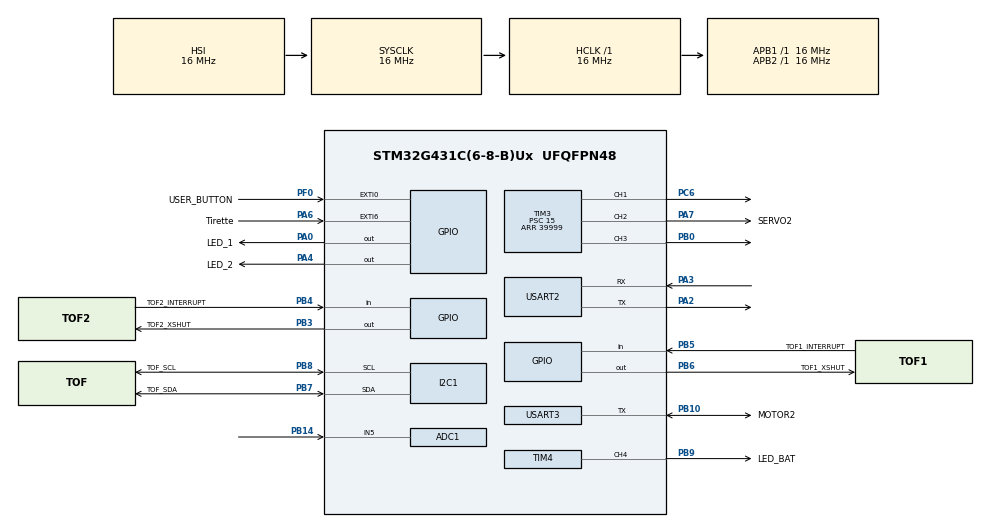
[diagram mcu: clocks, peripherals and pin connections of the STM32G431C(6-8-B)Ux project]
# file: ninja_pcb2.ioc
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ADC1.Channel-0\#ChannelRegularConversion=ADC_CHANNEL_5
ADC1.NbrOfConversionFlag=1
ADC1.OffsetNumber-0\#ChannelRegularConversion=ADC_OFFSET_NONE
ADC1.Rank-0\#ChannelRegularConversion=1
ADC1.SamplingTime-0\#ChannelRegularConversion=ADC_SAMPLETIME_2CYCLES_5
ADC1.master=1
Dma.Request0=USART3_RX
Dma.Request1=TIM4_CH4
Dma.TIM4_CH4.1.Direction=DMA_PERIPH_TO_MEMORY
Dma.TIM4_CH4.1.EventEnable=DISABLE
Dma.TIM4_CH4.1.Instance=DMA1_Channel1
Dma.TIM4_CH4.1.MemDataAlignment=DMA_MDATAALIGN_HALFWORD
Dma.TIM4_CH4.1.MemInc=DMA_MINC_ENABLE
Dma.TIM4_CH4.1.Mode=DMA_NORMAL
Dma.TIM4_CH4.1.PeriphDataAlignment=DMA_PDATAALIGN_HALFWORD
Dma.TIM4_CH4.1.PeriphInc=DMA_PINC_DISABLE
Dma.TIM4_CH4.1.Polarity=HAL_DMAMUX_REQ_GEN_RISING
Dma.TIM4_CH4.1.Priority=DMA_PRIORITY_LOW
Dma.TIM4_CH4.1.RequestNumber=1
Dma.TIM4_CH4.1.SignalID=NONE
Dma.TIM4_CH4.1.SyncEnable=DISABLE
Dma.TIM4_CH4.1.SyncPolarity=HAL_DMAMUX_SYNC_NO_EVENT
Dma.TIM4_CH4.1.SyncRequestNumber=1
Dma.TIM4_CH4.1.SyncSignalID=NONE
Dma.USART3_RX.0.Direction=DMA_PERIPH_TO_MEMORY
Dma.USART3_RX.0.EventEnable=DISABLE
Dma.USART3_RX.0.Instance=DMA1_Channel2
Dma.USART3_RX.0.MemDataAlignment=DMA_MDATAALIGN_BYTE
Dma.USART3_RX.0.MemInc=DMA_MINC_ENABLE
Dma.USART3_RX.0.Mode=DMA_NORMAL
Dma.USART3_RX.0.PeriphDataAlignment=DMA_PDATAALIGN_BYTE
Dma.USART3_RX.0.PeriphInc=DMA_PINC_DISABLE
Dma.USART3_RX.0.Polarity=HAL_DMAMUX_REQ_GEN_RISING
Dma.USART3_RX.0.Priority=DMA_PRIORITY_LOW
Dma.USART3_RX.0.RequestNumber=1
Dma.USART3_RX.0.SignalID=NONE
Dma.USART3_RX.0.SyncEnable=DISABLE
Dma.USART3_RX.0.SyncPolarity=HAL_DMAMUX_SYNC_NO_EVENT
Dma.USART3_RX.0.SyncRequestNumber=1
Dma.USART3_RX.0.SyncSignalID=NONE
FREERTOS.Tasks01=Sytem_Task,24,128,System,Default,NULL,Dynamic,NULL,NULL;Action_Control,32,128,Action,Default,NULL,Dynamic,NULL,NULL
FREERTOS.configUSE_NEWLIB_REENTRANT=0
I2C1.Timing=0x00503D58
Mcu.Family=STM32G4
Mcu.Name=STM32G431C(6-8-B)Ux
Mcu.Package=UFQFPN48
NVIC.ADC1_2_IRQn=true\:5\:0\:false\:false\:true\:true\:true\:true\:true
NVIC.DMA1_Channel1_IRQn=true\:5\:0\:false\:false\:true\:true\:false\:true\:true
NVIC.DMA1_Channel2_IRQn=true\:5\:0\:false\:false\:true\:true\:false\:true\:true
NVIC.EXTI0_IRQn=true\:5\:0\:false\:false\:true\:true\:true\:true\:true
NVIC.EXTI9_5_IRQn=true\:5\:0\:false\:false\:true\:true\:true\:true\:true
NVIC.I2C1_ER_IRQn=true\:5\:0\:false\:false\:true\:true\:true\:true\:true
NVIC.I2C1_EV_IRQn=true\:5\:0\:false\:false\:true\:true\:true\:true\:true
NVIC.PriorityGroup=NVIC_PRIORITYGROUP_4
NVIC.TIM1_TRG_COM_TIM17_IRQn=true\:15\:0\:false\:false\:true\:false\:false\:true\:true
NVIC.TIM2_IRQn=true\:5\:0\:false\:false\:true\:true\:true\:true\:true
NVIC.TIM3_IRQn=true\:5\:0\:false\:false\:true\:true\:true\:true\:true
NVIC.TIM4_IRQn=true\:5\:0\:false\:false\:true\:true\:true\:true\:true
NVIC.TimeBase=TIM1_TRG_COM_TIM17_IRQn
NVIC.TimeBaseIP=TIM17
NVIC.USART2_IRQn=true\:5\:0\:false\:false\:true\:true\:true\:true\:true
NVIC.USART3_IRQn=true\:5\:0\:false\:false\:true\:true\:true\:true\:true
PA0.GPIO_Label=LED_1
PA0.Signal=GPIO_Output
PA13.Signal=SYS_JTMS-SWDIO
PA14.Signal=SYS_JTCK-SWCLK
PA2.Mode=Asynchronous
PA2.Signal=USART2_TX
PA3.Mode=Asynchronous
PA3.Signal=USART2_RX
PA4.GPIO_Label=LED_2
PA4.Signal=GPIO_Output
PA6.GPIO_Label=Tirette
PA6.GPIO_ModeDefaultEXTI=GPIO_MODE_IT_FALLING
PA6.GPIO_PuPd=GPIO_PULLUP
PA6.Signal=GPXTI6
PA7.GPIO_Label=SERVO2
PA7.Signal=S_TIM3_CH2
PB0.Signal=S_TIM3_CH3
PB10.GPIO_Label=MOTOR2
PB10.GPIO_PuPd=GPIO_PULLUP
PB10.GPIO_Speed=GPIO_SPEED_FREQ_HIGH
PB10.Mode=Half_duplex(single_wire_mode)
PB10.Signal=USART3_TX
PB14.Mode=IN5-Single-Ended
PB14.Signal=ADC1_IN5
PB3.GPIO_Label=TOF2_XSHUT
PB3.Signal=GPIO_Output
PB4.GPIO_Label=TOF2_INTERRUPT
PB4.Signal=GPIO_Input
PB5.GPIO_Label=TOF1_INTERRUPT
PB5.Signal=GPIO_Input
PB6.GPIO_Label=TOF1_XSHUT
PB6.Signal=GPIO_Output
PB7.GPIO_Label=TOF_SDA
PB7.Mode=I2C
PB7.Signal=I2C1_SDA
PB8-BOOT0.GPIO_Label=TOF_SCL
PB8-BOOT0.Mode=I2C
PB8-BOOT0.Signal=I2C1_SCL
PB9.GPIO_Label=LED_BAT
PB9.Signal=S_TIM4_CH4
PC6.Signal=S_TIM3_CH1
PF0-OSC_IN.GPIO_Label=USER_BUTTON
PF0-OSC_IN.GPIO_ModeDefaultEXTI=GPIO_MODE_IT_FALLING
PF0-OSC_IN.GPIO_PuPd=GPIO_PULLUP
PF0-OSC_IN.Signal=GPXTI0
ProjectManager.HeapSize=0x200
ProjectManager.StackSize=0x400
ProjectManager.TargetToolchain=STM32CubeIDE
RCC.AHBFreq_Value=16000000
RCC.APB1Freq_Value=16000000
RCC.APB1TimFreq_Value=16000000
RCC.APB2Freq_Value=16000000
RCC.APB2TimFreq_Value=16000000
RCC.CortexFreq_Value=16000000
RCC.EXTERNAL_CLOCK_VALUE=12288000
RCC.HCLKFreq_Value=16000000
RCC.HSE_VALUE=8000000
RCC.HSI48_VALUE=48000000
RCC.HSI_VALUE=16000000
RCC.LSE_VALUE=32768
RCC.SYSCLKFreq_VALUE=16000000
RCC.USBFreq_Value=64000000
RCC.VCOOutputFreq_Value=128000000
SH.S_TIM3_CH1.0=TIM3_CH1,PWM Generation1 CH1
SH.S_TIM3_CH2.0=TIM3_CH2,PWM Generation2 CH2
SH.S_TIM3_CH3.0=TIM3_CH3,PWM Generation3 CH3
SH.S_TIM4_CH4.0=TIM4_CH4,PWM Generation4 CH4
TIM2.PeriodNoDither=3029
TIM2.Prescaler=15
TIM3.Channel-PWM\ Generation1\ CH1=TIM_CHANNEL_1
TIM3.Channel-PWM\ Generation2\ CH2=TIM_CHANNEL_2
TIM3.Channel-PWM\ Generation3\ CH3=TIM_CHANNEL_3
TIM3.PeriodNoDither=39999
TIM3.Prescaler=15
TIM4.Channel-PWM\ Generation4\ CH4=TIM_CHANNEL_4
TIM4.PeriodNoDither=19
TIM4.Prescaler=0
TIM4.PulseNoDither_4=50
USART2.VirtualMode-Asynchronous=VM_ASYNC
USART3.VirtualMode-Half_duplex(single_wire_mode)=VM_ASYNC
VP_FREERTOS_VS_CMSIS_V2.Mode=CMSIS_V2
VP_SYS_VS_DBSignals.Mode=DisableDeadBatterySignals
VP_SYS_VS_tim17.Mode=TIM17
VP_TIM2_VS_ClockSourceINT.Mode=Internal
VP_TIM3_VS_ClockSourceINT.Mode=Internal
VP_TIM4_VS_ClockSourceINT.Mode=Internal
board=custom

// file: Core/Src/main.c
/* USER CODE BEGIN Header */
/**
  ******************************************************************************
  * @file           : main.c
  * @brief          : Main program body
  ******************************************************************************
  * @attention
  *
  * Copyright (c) 2026 STMicroelectronics.
  * All rights reserved.
  *
  * This software is licensed under terms that can be found in the LICENSE file
  * in the root directory of this software component.
  * If no LICENSE file comes with this software, it is provided AS-IS.
  *
  ******************************************************************************
  */
/* USER CODE END Header */
#include "main.h"
#include "cmsis_os.h"

/* USER CODE BEGIN Includes */
#include "utils.h"
/* USER CODE END Includes */

ADC_HandleTypeDef hadc1;

I2C_HandleTypeDef hi2c1;

TIM_HandleTypeDef htim2;
TIM_HandleTypeDef htim3;
TIM_HandleTypeDef htim4;
DMA_HandleTypeDef hdma_tim4_ch4;

UART_HandleTypeDef huart2;
UART_HandleTypeDef huart3;
DMA_HandleTypeDef hdma_usart3_rx;

/* Definitions for Sytem_Task */
osThreadId_t Sytem_TaskHandle;
const osThreadAttr_t Sytem_Task_attributes = {
  .name = "Sytem_Task",
  .priority = (osPriority_t) osPriorityNormal,
  .stack_size = 128 * 4
};
/* Definitions for Action_Control */
osThreadId_t Action_ControlHandle;
const osThreadAttr_t Action_Control_attributes = {
  .name = "Action_Control",
  .priority = (osPriority_t) osPriorityAboveNormal,
  .stack_size = 128 * 4
};

void SystemClock_Config(void);
static void MX_GPIO_Init(void);
static void MX_DMA_Init(void);
static void MX_USART3_UART_Init(void);
static void MX_TIM3_Init(void);
static void MX_TIM2_Init(void);
static void MX_ADC1_Init(void);
static void MX_I2C1_Init(void);
static void MX_TIM4_Init(void);
static void MX_USART2_UART_Init(void);
void System(void *argument);
void Action(void *argument);

/* USER CODE BEGIN 0 */
volatile int tirette_is_on=0;
volatile int team_is_yellow=1;
Battery_t bat ;

/* USER CODE END 0 */

int main(void)
{

  /* MCU Configuration--------------------------------------------------------*/

  /* Reset of all peripherals, Initializes the Flash interface and the Systick. */
  HAL_Init();

  /* Configure the system clock */
  SystemClock_Config();

  /* Initialize all configured peripherals */
  MX_GPIO_Init();
  MX_DMA_Init();
  MX_USART3_UART_Init();
  MX_TIM3_Init();
  MX_TIM2_Init();
  MX_ADC1_Init();
  MX_I2C1_Init();
  MX_TIM4_Init();
  MX_USART2_UART_Init();

  /* Init scheduler */
  osKernelInitialize();

  /* Create the thread(s) */
  /* creation of Sytem_Task */
  Sytem_TaskHandle = osThreadNew(System, NULL, &Sytem_Task_attributes);

  /* creation of Action_Control */
  Action_ControlHandle = osThreadNew(Action, NULL, &Action_Control_attributes);

  /* Start scheduler */
  osKernelStart();

  /* We should never get here as control is now taken by the scheduler */

  /* Infinite loop */
  while (1)
  {

  }
}

void SystemClock_Config(void)
{
  RCC_OscInitTypeDef RCC_OscInitStruct = {0};
  RCC_ClkInitTypeDef RCC_ClkInitStruct = {0};

  /** Configure the main internal regulator output voltage
  */
  HAL_PWREx_ControlVoltageScaling(PWR_REGULATOR_VOLTAGE_SCALE1);

  /** Initializes the RCC Oscillators according to the specified parameters
  * in the RCC_OscInitTypeDef structure.
  */
  RCC_OscInitStruct.OscillatorType = RCC_OSCILLATORTYPE_HSI;
  RCC_OscInitStruct.HSIState = RCC_HSI_ON;
  RCC_OscInitStruct.HSICalibrationValue = RCC_HSICALIBRATION_DEFAULT;
  RCC_OscInitStruct.PLL.PLLState = RCC_PLL_NONE;
  if (HAL_RCC_OscConfig(&RCC_OscInitStruct) != HAL_OK)
  {
    Error_Handler();
  }

  /** Initializes the CPU, AHB and APB buses clocks
  */
  RCC_ClkInitStruct.ClockType = RCC_CLOCKTYPE_HCLK|RCC_CLOCKTYPE_SYSCLK
                              |RCC_CLOCKTYPE_PCLK1|RCC_CLOCKTYPE_PCLK2;
  RCC_ClkInitStruct.SYSCLKSource = RCC_SYSCLKSOURCE_HSI;
  RCC_ClkInitStruct.AHBCLKDivider = RCC_SYSCLK_DIV1;
  RCC_ClkInitStruct.APB1CLKDivider = RCC_HCLK_DIV1;
  RCC_ClkInitStruct.APB2CLKDivider = RCC_HCLK_DIV1;

  if (HAL_RCC_ClockConfig(&RCC_ClkInitStruct, FLASH_LATENCY_0) != HAL_OK)
  {
    Error_Handler();
  }
}

static void MX_ADC1_Init(void)
{

  ADC_MultiModeTypeDef multimode = {0};
  ADC_ChannelConfTypeDef sConfig = {0};

  /** Common config
  */
  hadc1.Instance = ADC1;
  hadc1.Init.ClockPrescaler = ADC_CLOCK_SYNC_PCLK_DIV2;
  hadc1.Init.Resolution = ADC_RESOLUTION_12B;
  hadc1.Init.DataAlign = ADC_DATAALIGN_RIGHT;
  hadc1.Init.GainCompensation = 0;
  hadc1.Init.ScanConvMode = ADC_SCAN_DISABLE;
  hadc1.Init.EOCSelection = ADC_EOC_SINGLE_CONV;
  hadc1.Init.LowPowerAutoWait = DISABLE;
  hadc1.Init.ContinuousConvMode = DISABLE;
  hadc1.Init.NbrOfConversion = 1;
  hadc1.Init.DiscontinuousConvMode = DISABLE;
  hadc1.Init.ExternalTrigConv = ADC_SOFTWARE_START;
  hadc1.Init.ExternalTrigConvEdge = ADC_EXTERNALTRIGCONVEDGE_NONE;
  hadc1.Init.DMAContinuousRequests = DISABLE;
  hadc1.Init.Overrun = ADC_OVR_DATA_PRESERVED;
  hadc1.Init.OversamplingMode = DISABLE;
  if (HAL_ADC_Init(&hadc1) != HAL_OK)
  {
    Error_Handler();
  }

  /** Configure the ADC multi-mode
  */
  multimode.Mode = ADC_MODE_INDEPENDENT;
  if (HAL_ADCEx_MultiModeConfigChannel(&hadc1, &multimode) != HAL_OK)
  {
    Error_Handler();
  }

  /** Configure Regular Channel
  */
  sConfig.Channel = ADC_CHANNEL_5;
  sConfig.Rank = ADC_REGULAR_RANK_1;
  sConfig.SamplingTime = ADC_SAMPLETIME_2CYCLES_5;
  sConfig.SingleDiff = ADC_SINGLE_ENDED;
  sConfig.OffsetNumber = ADC_OFFSET_NONE;
  sConfig.Offset = 0;
  if (HAL_ADC_ConfigChannel(&hadc1, &sConfig) != HAL_OK)
  {
    Error_Handler();
  }

}

static void MX_I2C1_Init(void)
{

  hi2c1.Instance = I2C1;
  hi2c1.Init.Timing = 0x00503D58;
  hi2c1.Init.OwnAddress1 = 0;
  hi2c1.Init.AddressingMode = I2C_ADDRESSINGMODE_7BIT;
  hi2c1.Init.DualAddressMode = I2C_DUALADDRESS_DISABLE;
  hi2c1.Init.OwnAddress2 = 0;
  hi2c1.Init.OwnAddress2Masks = I2C_OA2_NOMASK;
  hi2c1.Init.GeneralCallMode = I2C_GENERALCALL_DISABLE;
  hi2c1.Init.NoStretchMode = I2C_NOSTRETCH_DISABLE;
  if (HAL_I2C_Init(&hi2c1) != HAL_OK)
  {
    Error_Handler();
  }

  /** Configure Analogue filter
  */
  if (HAL_I2CEx_ConfigAnalogFilter(&hi2c1, I2C_ANALOGFILTER_ENABLE) != HAL_OK)
  {
    Error_Handler();
  }

  /** Configure Digital filter
  */
  if (HAL_I2CEx_ConfigDigitalFilter(&hi2c1, 0) != HAL_OK)
  {
    Error_Handler();
  }

}

static void MX_TIM2_Init(void)
{

  TIM_ClockConfigTypeDef sClockSourceConfig = {0};
  TIM_MasterConfigTypeDef sMasterConfig = {0};

  htim2.Instance = TIM2;
  htim2.Init.Prescaler = 15;
  htim2.Init.CounterMode = TIM_COUNTERMODE_UP;
  htim2.Init.Period = 3029;
  htim2.Init.ClockDivision = TIM_CLOCKDIVISION_DIV1;
  htim2.Init.AutoReloadPreload = TIM_AUTORELOAD_PRELOAD_DISABLE;
  if (HAL_TIM_Base_Init(&htim2) != HAL_OK)
  {
    Error_Handler();
  }
  sClockSourceConfig.ClockSource = TIM_CLOCKSOURCE_INTERNAL;
  if (HAL_TIM_ConfigClockSource(&htim2, &sClockSourceConfig) != HAL_OK)
  {
    Error_Handler();
  }
  sMasterConfig.MasterOutputTrigger = TIM_TRGO_RESET;
  sMasterConfig.MasterSlaveMode = TIM_MASTERSLAVEMODE_DISABLE;
  if (HAL_TIMEx_MasterConfigSynchronization(&htim2, &sMasterConfig) != HAL_OK)
  {
    Error_Handler();
  }

}

static void MX_TIM3_Init(void)
{

  TIM_ClockConfigTypeDef sClockSourceConfig = {0};
  TIM_MasterConfigTypeDef sMasterConfig = {0};
  TIM_OC_InitTypeDef sConfigOC = {0};

  htim3.Instance = TIM3;
  htim3.Init.Prescaler = 15;
  htim3.Init.CounterMode = TIM_COUNTERMODE_UP;
  htim3.Init.Period = 39999;
  htim3.Init.ClockDivision = TIM_CLOCKDIVISION_DIV1;
  htim3.Init.AutoReloadPreload = TIM_AUTORELOAD_PRELOAD_DISABLE;
  if (HAL_TIM_Base_Init(&htim3) != HAL_OK)
  {
    Error_Handler();
  }
  sClockSourceConfig.ClockSource = TIM_CLOCKSOURCE_INTERNAL;
  if (HAL_TIM_ConfigClockSource(&htim3, &sClockSourceConfig) != HAL_OK)
  {
    Error_Handler();
  }
  if (HAL_TIM_PWM_Init(&htim3) != HAL_OK)
  {
    Error_Handler();
  }
  sMasterConfig.MasterOutputTrigger = TIM_TRGO_RESET;
  sMasterConfig.MasterSlaveMode = TIM_MASTERSLAVEMODE_DISABLE;
  if (HAL_TIMEx_MasterConfigSynchronization(&htim3, &sMasterConfig) != HAL_OK)
  {
    Error_Handler();
  }
  sConfigOC.OCMode = TIM_OCMODE_PWM1;
  sConfigOC.Pulse = 0;
  sConfigOC.OCPolarity = TIM_OCPOLARITY_HIGH;
  sConfigOC.OCFastMode = TIM_OCFAST_DISABLE;
  if (HAL_TIM_PWM_ConfigChannel(&htim3, &sConfigOC, TIM_CHANNEL_1) != HAL_OK)
  {
    Error_Handler();
  }
  if (HAL_TIM_PWM_ConfigChannel(&htim3, &sConfigOC, TIM_CHANNEL_2) != HAL_OK)
  {
    Error_Handler();
  }
  if (HAL_TIM_PWM_ConfigChannel(&htim3, &sConfigOC, TIM_CHANNEL_3) != HAL_OK)
  {
    Error_Handler();
  }
  HAL_TIM_MspPostInit(&htim3);

}

static void MX_TIM4_Init(void)
{

  TIM_ClockConfigTypeDef sClockSourceConfig = {0};
  TIM_MasterConfigTypeDef sMasterConfig = {0};
  TIM_OC_InitTypeDef sConfigOC = {0};

  htim4.Instance = TIM4;
  htim4.Init.Prescaler = 0;
  htim4.Init.CounterMode = TIM_COUNTERMODE_UP;
  htim4.Init.Period = 19;
  htim4.Init.ClockDivision = TIM_CLOCKDIVISION_DIV1;
  htim4.Init.AutoReloadPreload = TIM_AUTORELOAD_PRELOAD_DISABLE;
  if (HAL_TIM_Base_Init(&htim4) != HAL_OK)
  {
    Error_Handler();
  }
  sClockSourceConfig.ClockSource = TIM_CLOCKSOURCE_INTERNAL;
  if (HAL_TIM_ConfigClockSource(&htim4, &sClockSourceConfig) != HAL_OK)
  {
    Error_Handler();
  }
  if (HAL_TIM_PWM_Init(&htim4) != HAL_OK)
  {
    Error_Handler();
  }
  sMasterConfig.MasterOutputTrigger = TIM_TRGO_RESET;
  sMasterConfig.MasterSlaveMode = TIM_MASTERSLAVEMODE_DISABLE;
  if (HAL_TIMEx_MasterConfigSynchronization(&htim4, &sMasterConfig) != HAL_OK)
  {
    Error_Handler();
  }
  sConfigOC.OCMode = TIM_OCMODE_PWM1;
  sConfigOC.Pulse = 50;
  sConfigOC.OCPolarity = TIM_OCPOLARITY_HIGH;
  sConfigOC.OCFastMode = TIM_OCFAST_DISABLE;
  if (HAL_TIM_PWM_ConfigChannel(&htim4, &sConfigOC, TIM_CHANNEL_4) != HAL_OK)
  {
    Error_Handler();
  }
  HAL_TIM_MspPostInit(&htim4);

}

static void MX_USART2_UART_Init(void)
{

  huart2.Instance = USART2;
  huart2.Init.BaudRate = 115200;
  huart2.Init.WordLength = UART_WORDLENGTH_8B;
  huart2.Init.StopBits = UART_STOPBITS_1;
  huart2.Init.Parity = UART_PARITY_NONE;
  huart2.Init.Mode = UART_MODE_TX_RX;
  huart2.Init.HwFlowCtl = UART_HWCONTROL_NONE;
  huart2.Init.OverSampling = UART_OVERSAMPLING_16;
  huart2.Init.OneBitSampling = UART_ONE_BIT_SAMPLE_DISABLE;
  huart2.Init.ClockPrescaler = UART_PRESCALER_DIV1;
  huart2.AdvancedInit.AdvFeatureInit = UART_ADVFEATURE_NO_INIT;
  if (HAL_UART_Init(&huart2) != HAL_OK)
  {
    Error_Handler();
  }
  if (HAL_UARTEx_SetTxFifoThreshold(&huart2, UART_TXFIFO_THRESHOLD_1_8) != HAL_OK)
  {
    Error_Handler();
  }
  if (HAL_UARTEx_SetRxFifoThreshold(&huart2, UART_RXFIFO_THRESHOLD_1_8) != HAL_OK)
  {
    Error_Handler();
  }
  if (HAL_UARTEx_DisableFifoMode(&huart2) != HAL_OK)
  {
    Error_Handler();
  }

}

static void MX_USART3_UART_Init(void)
{

  huart3.Instance = USART3;
  huart3.Init.BaudRate = 115200;
  huart3.Init.WordLength = UART_WORDLENGTH_8B;
  huart3.Init.StopBits = UART_STOPBITS_1;
  huart3.Init.Parity = UART_PARITY_NONE;
  huart3.Init.Mode = UART_MODE_TX_RX;
  huart3.Init.HwFlowCtl = UART_HWCONTROL_NONE;
  huart3.Init.OverSampling = UART_OVERSAMPLING_16;
  huart3.Init.OneBitSampling = UART_ONE_BIT_SAMPLE_DISABLE;
  huart3.Init.ClockPrescaler = UART_PRESCALER_DIV1;
  huart3.AdvancedInit.AdvFeatureInit = UART_ADVFEATURE_NO_INIT;
  if (HAL_HalfDuplex_Init(&huart3) != HAL_OK)
  {
    Error_Handler();
  }
  if (HAL_UARTEx_SetTxFifoThreshold(&huart3, UART_TXFIFO_THRESHOLD_1_8) != HAL_OK)
  {
    Error_Handler();
  }
  if (HAL_UARTEx_SetRxFifoThreshold(&huart3, UART_RXFIFO_THRESHOLD_1_8) != HAL_OK)
  {
    Error_Handler();
  }
  if (HAL_UARTEx_DisableFifoMode(&huart3) != HAL_OK)
  {
    Error_Handler();
  }

}

static void MX_DMA_Init(void)
{

  /* DMA controller clock enable */
  __HAL_RCC_DMAMUX1_CLK_ENABLE();
  __HAL_RCC_DMA1_CLK_ENABLE();

  /* DMA interrupt init */
  /* DMA1_Channel1_IRQn interrupt configuration */
  HAL_NVIC_SetPriority(DMA1_Channel1_IRQn, 5, 0);
  HAL_NVIC_EnableIRQ(DMA1_Channel1_IRQn);
  /* DMA1_Channel2_IRQn interrupt configuration */
  HAL_NVIC_SetPriority(DMA1_Channel2_IRQn, 5, 0);
  HAL_NVIC_EnableIRQ(DMA1_Channel2_IRQn);

}

static void MX_GPIO_Init(void)
{
  GPIO_InitTypeDef GPIO_InitStruct = {0};

  /* GPIO Ports Clock Enable */
  __HAL_RCC_GPIOF_CLK_ENABLE();
  __HAL_RCC_GPIOA_CLK_ENABLE();
  __HAL_RCC_GPIOB_CLK_ENABLE();
  __HAL_RCC_GPIOC_CLK_ENABLE();

  /*Configure GPIO pin Output Level */
  HAL_GPIO_WritePin(GPIOA, LED_1_Pin|LED_2_Pin, GPIO_PIN_RESET);

  /*Configure GPIO pin Output Level */
  HAL_GPIO_WritePin(GPIOB, TOF2_XSHUT_Pin|TOF1_XSHUT_Pin, GPIO_PIN_RESET);

  /*Configure GPIO pin : USER_BUTTON_Pin */
  GPIO_InitStruct.Pin = USER_BUTTON_Pin;
  GPIO_InitStruct.Mode = GPIO_MODE_IT_FALLING;
  GPIO_InitStruct.Pull = GPIO_PULLUP;
  HAL_GPIO_Init(USER_BUTTON_GPIO_Port, &GPIO_InitStruct);

  /*Configure GPIO pins : LED_1_Pin LED_2_Pin */
  GPIO_InitStruct.Pin = LED_1_Pin|LED_2_Pin;
  GPIO_InitStruct.Mode = GPIO_MODE_OUTPUT_PP;
  GPIO_InitStruct.Pull = GPIO_NOPULL;
  GPIO_InitStruct.Speed = GPIO_SPEED_FREQ_LOW;
  HAL_GPIO_Init(GPIOA, &GPIO_InitStruct);

  /*Configure GPIO pin : Tirette_Pin */
  GPIO_InitStruct.Pin = Tirette_Pin;
  GPIO_InitStruct.Mode = GPIO_MODE_IT_FALLING;
  GPIO_InitStruct.Pull = GPIO_PULLUP;
  HAL_GPIO_Init(Tirette_GPIO_Port, &GPIO_InitStruct);

  /*Configure GPIO pins : TOF2_XSHUT_Pin TOF1_XSHUT_Pin */
  GPIO_InitStruct.Pin = TOF2_XSHUT_Pin|TOF1_XSHUT_Pin;
  GPIO_InitStruct.Mode = GPIO_MODE_OUTPUT_PP;
  GPIO_InitStruct.Pull = GPIO_NOPULL;
  GPIO_InitStruct.Speed = GPIO_SPEED_FREQ_LOW;
  HAL_GPIO_Init(GPIOB, &GPIO_InitStruct);

  /*Configure GPIO pins : TOF2_INTERRUPT_Pin TOF1_INTERRUPT_Pin */
  GPIO_InitStruct.Pin = TOF2_INTERRUPT_Pin|TOF1_INTERRUPT_Pin;
  GPIO_InitStruct.Mode = GPIO_MODE_INPUT;
  GPIO_InitStruct.Pull = GPIO_NOPULL;
  HAL_GPIO_Init(GPIOB, &GPIO_InitStruct);

  /* EXTI interrupt init*/
  HAL_NVIC_SetPriority(EXTI0_IRQn, 5, 0);
  HAL_NVIC_EnableIRQ(EXTI0_IRQn);

  HAL_NVIC_SetPriority(EXTI9_5_IRQn, 5, 0);
  HAL_NVIC_EnableIRQ(EXTI9_5_IRQn);

}

/* USER CODE BEGIN 4 */
void HAL_GPIO_EXTI_Callback(uint16_t GPIO_Pin)
{
    // Check if it was our specific button that fired the interrupt
	if (GPIO_Pin == USER_BUTTON_Pin){
		team_is_yellow= !team_is_yellow;
		HAL_GPIO_WritePin(LED_2_GPIO_Port,LED_2_Pin,team_is_yellow);

	}
    if(GPIO_Pin == Tirette_Pin)
    {
    	tirette_is_on=1;
	HAL_GPIO_TogglePin(LED_1_GPIO_Port, LED_1_Pin);
    }
}
/* USER CODE END 4 */

void System(void *argument)
{
  /* USER CODE BEGIN 5 */
  /* Infinite loop */

	Battery_Init(&bat, &hadc1);
	TOF_Init_All(&hi2c1, &huart2);
  for(;;)
  {
	TOF_Read_All();
	osDelay(100);
	Battery_Update(&bat);      // Read the ADC and calculate voltage/state
	Battery_UpdateLEDs(&bat); // Update the Neopixel colors based on the state
	HAND_STOP_DETECT();
    osDelay(100);

  }
	  osDelay(1);
  /* USER CODE END 5 */
}

void Action(void *argument)
{
  /* USER CODE BEGIN Action */
  /* Infinite loop */
	Motor_Init();
	KST_Init();
	osDelay(500);
	ARM_UP();
	osDelay(1000);
	ARM_DOWN_2();
  for(;;)

  {

	if(tirette_is_on==1){
		int start= HAL_GetTick();
		while(HAL_GetTick()-start<90000){
			if(team_is_yellow==1){
			Robot_Move_Forward(300);
			osDelay(500);
			Robot_Rotate(45);
			osDelay(500);
			Robot_Move_Forward(300);
			osDelay(500);
			Robot_Move_Backwards(150);
			osDelay(500);
			ARM_UP();
			osDelay(500);
			Robot_Rotate(-45);
			osDelay(500);
			Robot_Move_Until_TOF_Distance(30);
			osDelay(500);
			Robot_Move_Forward(150);
			osDelay(500);
			Robot_Rotate(-90);
			osDelay(500);
			Robot_Move_Until_TOF_Distance(30);
			osDelay(500);
			Robot_Rotate(-90);
			osDelay(500);
			Robot_Move_Forward(500);
			osDelay(500);
			Robot_Rotate(-90);
			osDelay(500);
			Robot_Move_Until_TOF_Distance(30);
			osDelay(500);
			Pump_Start();
			osDelay(500);
			ARM_DOWN_1();
			osDelay(500);
			ARM_UP();
			osDelay(500);
			Robot_Move_Backwards(30);
			osDelay(500);
			Robot_Rotate(-75);
			osDelay(500);
			Pump_Stop();
			osDelay(500);
			ARM_DOWN_2();
			osDelay(500);
			ARM_UP();
			osDelay(500);
			Robot_Move_Forward(200);
			osDelay(500);
			Robot_Move_Backwards(150);
			osDelay(500);
			}
			else{
				Robot_Move_Forward(300);
				osDelay(500);
				Robot_Rotate(-45);
				osDelay(500);
				Robot_Move_Forward(300);
				osDelay(500);
				Robot_Move_Backwards(150);
				osDelay(500);
				ARM_UP();
				osDelay(500);
				Robot_Rotate(45);
				osDelay(500);
				Robot_Move_Until_TOF_Distance(30);
				osDelay(500);
				Robot_Move_Forward(150);
				osDelay(500);
				Robot_Rotate(90);
				osDelay(500);
				Robot_Move_Until_TOF_Distance(30);
				osDelay(500);
				Robot_Rotate(90);
				osDelay(500);
				Robot_Move_Forward(530);
				osDelay(500);
				Robot_Rotate(90);
				osDelay(500);
				Robot_Move_Until_TOF_Distance(30);
				osDelay(500);
				Pump_Start();
				osDelay(500);
				ARM_DOWN_1();
				osDelay(500);
				ARM_UP();
				osDelay(500);
				Robot_Move_Backwards(30);
				osDelay(500);
				Robot_Rotate(75);
				osDelay(500);
				Pump_Stop();
				osDelay(500);
				ARM_DOWN_2();
				osDelay(500);
				ARM_UP();
				osDelay(500);
				Robot_Move_Forward(200);
				osDelay(500);
				Robot_Move_Backwards(150);
				osDelay(500);
			}
			break;

		}

		while(1){
			XL430_GoToAngle(3, 150.0);
			osDelay(1000);
			XL430_GoToAngle(3, 200.0);
			osDelay(1000);
		}

		}
    osDelay(1);
  }
  /* USER CODE END Action */
}

void HAL_TIM_PeriodElapsedCallback(TIM_HandleTypeDef *htim)
{
  if (htim->Instance == TIM17)
  {
    HAL_IncTick();
  }
}

void Error_Handler(void)
{
  __disable_irq();
  while (1)
  {
  }
}
